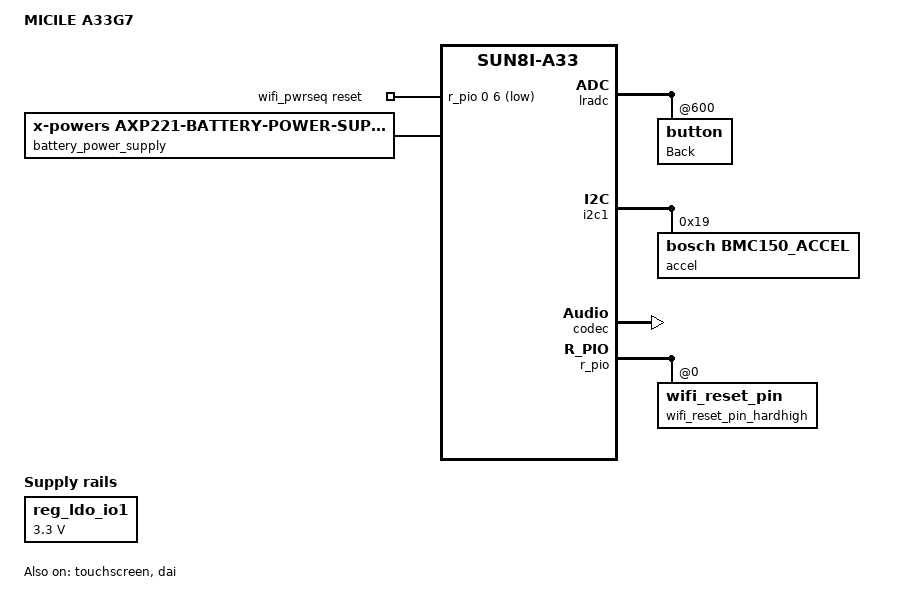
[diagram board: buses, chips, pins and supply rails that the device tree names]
/dts-v1/;
#include "sun8i-a33.dtsi"
#include "sun8i-q8-common.dtsi"

/ {
    model = "MICILE A33G7";
    compatible = "micile,A33G7", "allwinner,sun8i-a33";

        wifi_pwrseq: wifi_pwrseq {
                compatible = "mmc-pwrseq-simple";
                reset-gpios = <&r_pio 0 6 GPIO_ACTIVE_LOW>;
        };
};

&touchscreen {
        reg = <0x40>;
        compatible = "silead,gsl3675";
        firmware-name = "silead-micile-A33G7.fw";
        touchscreen-size-x = <1970>;
        touchscreen-size-y = <1500>;
        touchscreen-inverted-y;
        status = "okay";
};

&lradc {
        button@600 {
                label = "Back";
                linux,code = <KEY_BACK>;
                channel = <0>;
                voltage = <600000>;
        };
};
/*
&mmc2 {
        pinctrl-names = "default";
        pinctrl-0 = <&mmc2_8bit_pins>;
        vmmc-supply = <&reg_dcdc1>;
        bus-width = <8>;
        non-removable;
        cap-mmc-hw-reset;
        status = "okay";
};
*/
/*
&mmc2_8bit_pins {
*/
        /* Increase drive strength for DDR modes */
/*        
        allwinner,drive = <SUN4I_PINCTRL_40_MA>;
*/        
        /* eMMC is missing pull-ups */
/*        
        allwinner,pull = <SUN4I_PINCTRL_PULL_UP>;
};
*/
&i2c1 {
    pinctrl-names = "default";
    pinctrl-0 = <&i2c1_pins_a>;
    status = "okay";

    /* Accelerometer */
        accel: accel@0 {
                reg = <0x19>;
                compatible = "bosch,bmc150_accel";
                status = "okay";
        };
};

&axp22x {
    battery_power_supply: battery-power-supply {
                compatible = "x-powers,axp221-battery-power-supply";
                status = "disabled";
        };
};

&ac_power_supply {
    status = "okay";
};

&battery_power_supply {
        status = "okay";
};

&codec {
    allwinner,pa-gpios = <&pio 7 9 GPIO_ACTIVE_HIGH>; /* PH9 */
    status = "okay";
};

&dai {
    status = "okay";
};

&sound {
    status = "okay";
};

&r_pio {
        wifi_reset_pin_hardhigh: wifi_reset_pin@0 {
                pins = "PL6";
                function = "gpio_out";
        };
};

/* Touchscreen */
&reg_ldo_io1 {
        regulator-always-on;
        regulator-min-microvolt = <3300000>;
        regulator-max-microvolt = <3300000>;
        regulator-name = "mic-ldo_io1";
        status = "okay";
};


